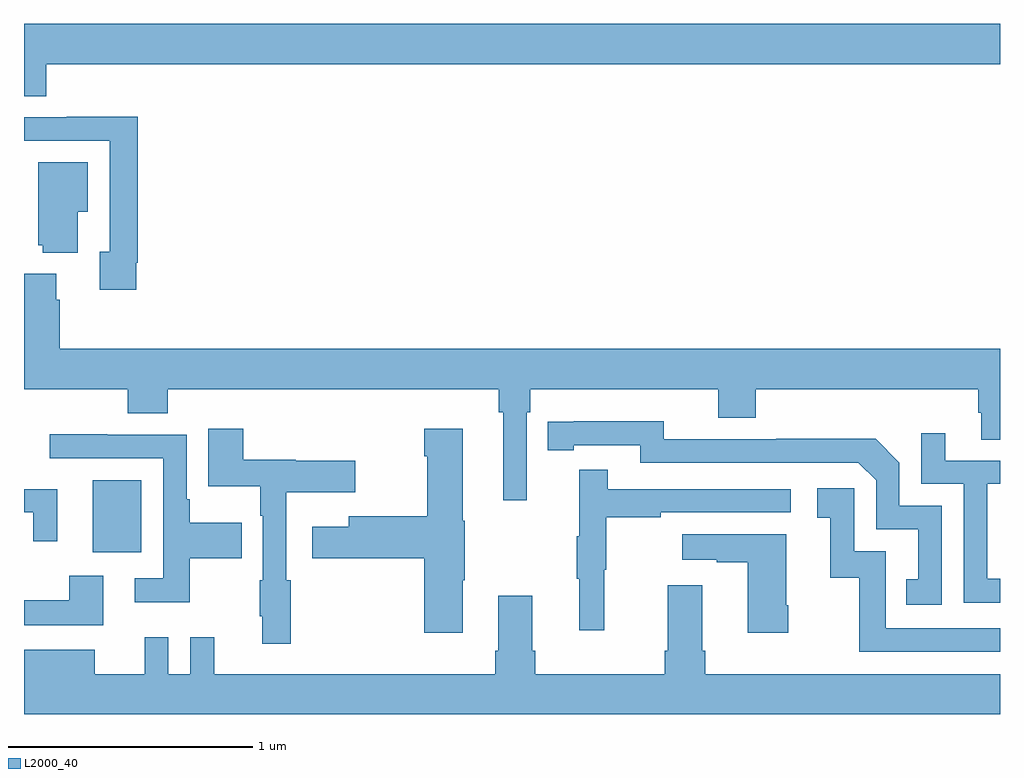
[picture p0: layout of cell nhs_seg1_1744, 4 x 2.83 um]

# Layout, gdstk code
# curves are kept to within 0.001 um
import gdstk
lib = gdstk.Library(unit=1e-6, precision=1e-09)
def R(c, l, rs):  # rectangles x0, y0, x1, y1
    for r in rs: c.add(gdstk.rectangle(r[:2], r[2:], *l))
def P(c, l, *ps):  # polygons
    for p in ps: c.add(gdstk.Polygon(p, *l))
L2000_40 = (2000, 40)

nhs_seg1_1744 = lib.new_cell('nhs_seg1_1744')
R(nhs_seg1_1744, L2000_40, [(207.281,505.775,207.481,506.071)])
P(nhs_seg1_1744, L2000_40, [(207.092,507.776),(211,507.776),(211,507.94),(207,507.94),(207,507.643),(207.092,507.643)],
  [(207.46,506.962),(207.467,506.962),(207.467,507.56),(207.175,507.56),(207.175,507.558),(207,507.558),(207,507.462),(207.351,507.462),(207.351,507.006),(207.311,507.006),(207.311,506.85),(207.46,506.85)],
  [(207.22,507.17),(207.262,507.17),(207.262,507.373),(207.059,507.373),(207.059,507.033),(207.077,507.033),(207.077,507.002),(207.22,507.002)],
  [(209.061,506.348),(209.075,506.348),(209.075,506.444),(209.846,506.444),(209.846,506.327),(209.999,506.327),(209.999,506.444),(210.911,506.444),(210.911,506.346),(210.923,506.346),(210.923,506.236),(211,506.236),(211,506.608),(207.146,506.608),(207.146,506.81),(207.133,506.81),(207.133,506.917),(207,506.917),(207,506.444),(207.425,506.444),(207.425,506.345),(207.59,506.345),(207.59,506.444),(208.945,506.444),(208.945,506.348),(208.964,506.348),(208.964,505.989),(209.061,505.989)],
  [(210.762,505.965),(210.588,505.965),(210.588,506.142),(210.49,506.24),(210.082,506.24),(210.082,506.238),(209.622,506.238),(209.622,506.311),(209.146,506.31),(209.146,506.194),(209.254,506.194),(209.254,506.214),(209.526,506.214),(209.526,506.142),(210.42,506.142),(210.492,506.07),(210.492,505.869),(210.665,505.869),(210.665,505.665),(210.616,505.665),(210.616,505.56),(210.762,505.56)],
  [(208.798,505.661),(208.806,505.661),(208.806,505.905),(208.798,505.905),(208.798,506.281),(208.64,506.281),(208.64,506.168),(208.652,506.168),(208.652,505.922),(208.331,505.922),(208.331,505.879),(208.182,505.879),(208.182,505.75),(208.64,505.75),(208.64,505.446),(208.798,505.446)],
  [(208.094,505.661),(208.074,505.661),(208.074,506.021),(208.357,506.021),(208.357,506.151),(208.113,506.151),(208.113,506.155),(207.899,506.155),(207.899,506.281),(207.755,506.281),(207.755,506.045),(207.969,506.045),(207.969,505.925),(207.978,505.925),(207.978,505.661),(207.966,505.661),(207.966,505.513),(207.977,505.513),(207.977,505.401),(208.094,505.401)],
  [(211,505.666),(210.948,505.666),(210.948,506.055),(211,506.055),(211,506.151),(210.775,506.151),(210.775,506.263),(210.678,506.263),(210.678,506.055),(210.852,506.055),(210.852,505.569),(211,505.569)],
  [(207.679,505.75),(207.893,505.75),(207.893,505.896),(207.679,505.896),(207.679,505.993),(207.666,505.993),(207.666,506.256),(207.341,506.256),(207.341,506.258),(207.105,506.258),(207.105,506.16),(207.57,506.16),(207.57,505.668),(207.453,505.668),(207.453,505.571),(207.679,505.571)],
  [(209.378,505.704),(209.386,505.704),(209.386,505.918),(209.609,505.918),(209.609,505.938),(210.142,505.938),(210.142,506.034),(209.393,506.034),(209.393,506.113),(209.276,506.113),(209.276,505.841),(209.265,505.841),(209.265,505.667),(209.276,505.667),(209.276,505.455),(209.378,505.455)],
  [(211,505.464),(210.531,505.464),(210.531,505.779),(210.402,505.779),(210.402,506.038),(210.252,506.038),(210.252,505.917),(210.305,505.917),(210.305,505.671),(210.423,505.671),(210.423,505.368),(211,505.368)],
  [(207.136,506.034),(207,506.034),(207,505.938),(207.038,505.938),(207.038,505.821),(207.136,505.821)],
  [(210.132,505.558),(210.124,505.558),(210.124,505.849),(209.697,505.849),(209.697,505.745),(209.84,505.745),(209.84,505.735),(209.966,505.735),(209.966,505.446),(210.132,505.446)],
  [(207.325,505.678),(207.185,505.678),(207.185,505.579),(207,505.579),(207,505.475),(207.325,505.475)],
  [(211,505.276),(209.792,505.276),(209.792,505.372),(209.779,505.372),(209.779,505.639),(209.639,505.639),(209.639,505.372),(209.627,505.372),(209.627,505.276),(209.096,505.276),(209.096,505.372),(209.083,505.372),(209.083,505.597),(208.943,505.597),(208.943,505.372),(208.931,505.372),(208.931,505.276),(207.779,505.276),(207.779,505.426),(207.681,505.426),(207.681,505.276),(207.591,505.276),(207.591,505.426),(207.494,505.426),(207.494,505.276),(207.289,505.276),(207.289,505.375),(207,505.375),(207,505.112),(211,505.112)])

lib.write_gds('nhs_seg1_1744.gds')
